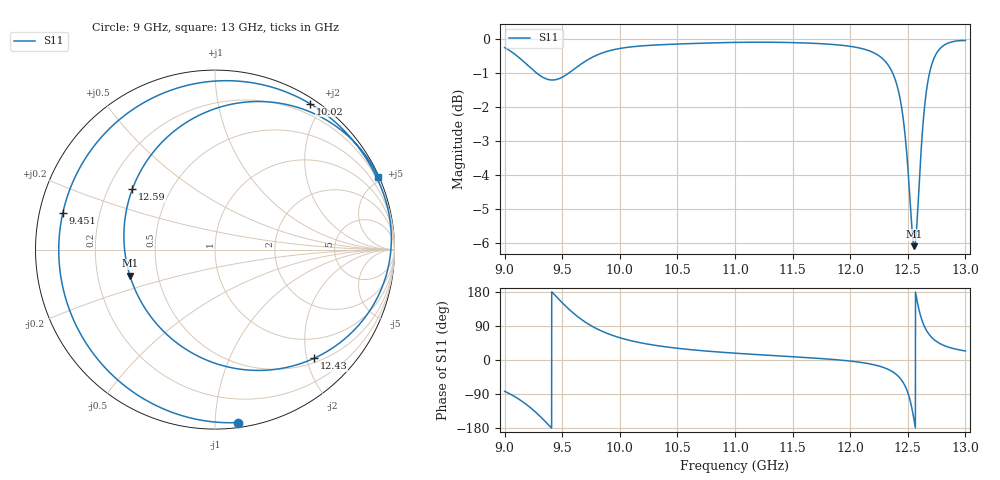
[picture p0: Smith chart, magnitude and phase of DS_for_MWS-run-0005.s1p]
! TOUCHSTONE file generated by CST DESIGN STUDIO
! Date and time: Tue Feb  4 12:42:28 2025
! Project name: C:\Work\MatlabApps\UnitCellOptimizationMatlab\CST\unitcell.cst
! Tree item: Tasks\Sweep1\SPara1\S-Parameters
! Header version: 2024
! Port assignment regex: !\s*Touchstone port\s*([0-9]+)\s*=\s*(CST MWS port|CST DES external port|CST DES block port)\s*(.+)\s* \(\"(.*)\"\)(\s*mode\s*([0-9]+))?.*
! Touchstone port assignment:
! Touchstone port 1 = CST DES external port 1 ("")
# GHz S MA R 50
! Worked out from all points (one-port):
!   4001 points, 9 GHz to 13 GHz, reference 50 ohm
!   lowest |S11| = -6.1 dB at 12.56 GHz (marker M1), VSWR 2.97, Z = 17.2 - j6.61 ohm
!   |S11| at or under -10 dB: nowhere
!   S11 on the Smith chart (normalised r, x): 9 GHz: 0.03, -1.14; 9.451 GHz: 0.07, +0.12; 10.02 GHz: 0.07, +1.84; 12.43 GHz: 0.58, -2.13; 12.59 GHz: 0.30, +0.30; 13 GHz: 0.05, +4.74
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9  0.972 -82.4
9.121  0.9407 -102.9
9.224  0.9076 -125.8
9.348  0.8759 -160.8
9.451  0.8723 166.5
9.5  0.879 151.2
9.598  0.9019 123.4
9.699  0.9274 100.2
9.845  0.9539 76.0
10  0.9689 58.8
10.02  0.9701 57.0
10.5  0.9836 30.9
11  0.989 18.0
11.5  0.9884 8.6
12  0.9759 -2.8
12.295  0.9312 -20.3
12.374  0.887 -32.2
12.432  0.8191 -47.7
12.5  0.6485 -86.1
12.528  0.5504 -116.7
12.557  0.4959 -163.0
12.589  0.5707 143.8
12.618  0.6957 109.6
12.648  0.8026 86.2
12.693  0.8982 64.6
12.743  0.9491 50.3
12.843  0.9855 35.0
13  0.9955 23.8
